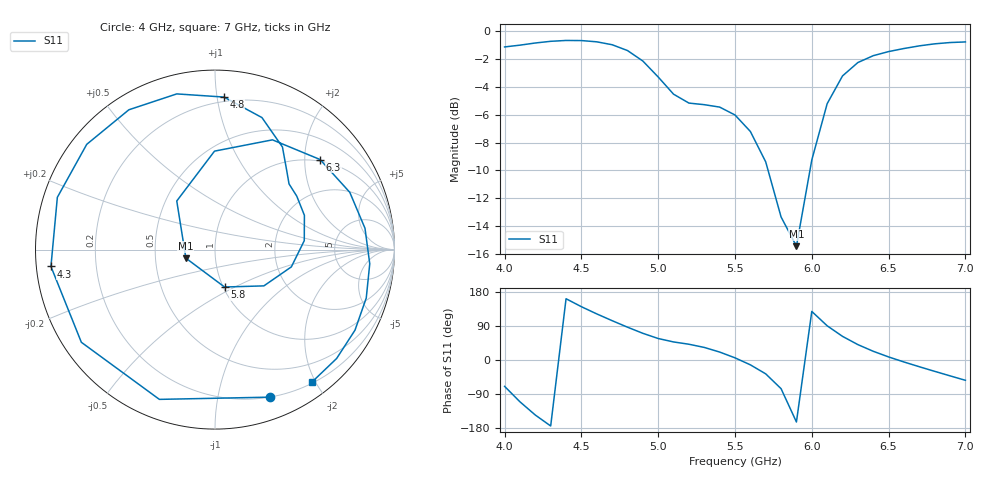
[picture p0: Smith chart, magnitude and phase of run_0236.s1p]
! Touchstone file exported from HFSS 2024.2.0
!  File:  C:/Users/wsak9/Desktop/Sim Fast/Widenad Patch/WP_AI_V1_sweep.aedt
!  Generated:  12:52:28 AM Oct 14, 2026
!  Design:  A1_model
!  Project:  WP_AI_V1_sweep
!  Setup:  Setup1
!  Solution:  Sweep
! Variables:
!  Air_gap = 4.79mm
!  Curve_Amp1 = 3.48
!  Curve_len1 = 1
!  Curve_pos = 10.875mm
!  Extra = 4mm
!  H_sub = 0.79mm
!  L_Patch = 17.75mm
!  L_Patch1 = 13.82mm
!  Sx = 0.52mm
!  Sy = 2.46mm
!  WS = 0.82mm
!  W_Patch = 19.3mm
!  W_Patch1 = 9.82mm
!Data is not renormalized
# GHz S MA
! Terminal data exported
! Port[1] = 1
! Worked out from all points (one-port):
!   31 points, 4 GHz to 7 GHz, reference per port
!   lowest |S11| = -15.4 dB at 5.9 GHz (marker M1), VSWR 1.41
!   |S11| at or under -10 dB: 5.715 GHz to 5.988 GHz (272.5 MHz wide, 4.66 % of centre)
!   S11 on the Smith chart (normalised r, x): 4 GHz: 0.20, -1.42; 4.3 GHz: 0.04, -0.05; 4.8 GHz: 0.17, +1.05; 5.8 GHz: 1.01, -0.44; 6.3 GHz: 0.96, +2.37; 7 GHz: 0.22, -1.96
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4  0.8771 -69.6
4.1  0.8902 -110.4
4.2  0.9062 -145.3
4.3  0.9189 -174.1
4.4  0.9253 161.7
4.5  0.9245 140.6
4.6  0.9149 121.6
4.7  0.8932 103.8
4.8  0.8513 86.6
4.9  0.7807 70.4
5  0.6841 56.7
5.1  0.5935 47.6
5.2  0.5515 41.6
5.3  0.5443 33.2
5.5  0.4998 5.7
5.6  0.4362 -12.8
5.7  0.3392 -36.6
5.8  0.2151 -75.7
5.9  0.169 -163.6
6  0.3446 128.2
6.1  0.5486 90.3
6.2  0.6903 62.4
6.3  0.771 40.6
6.4  0.8159 23.0
6.5  0.8441 8.1
6.7  0.8849 -17.8
6.8  0.8999 -29.9
7  0.9142 -53.6
